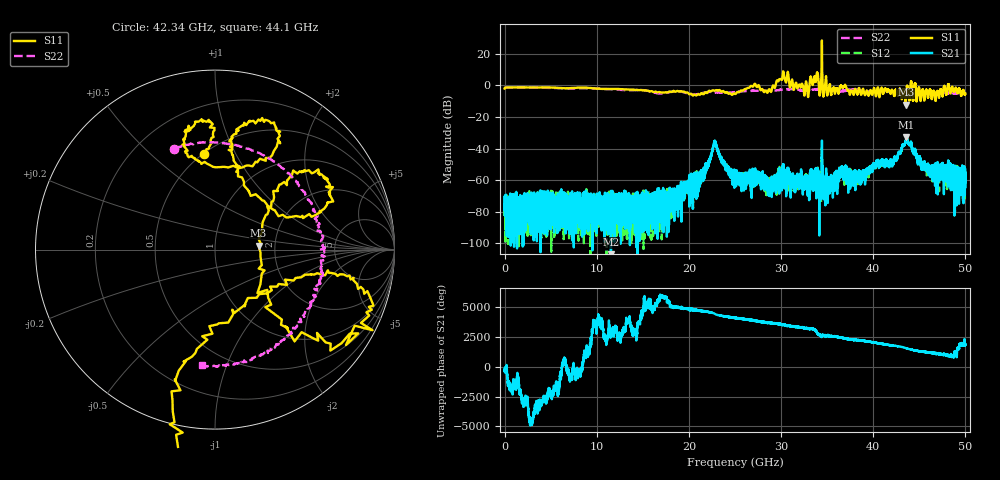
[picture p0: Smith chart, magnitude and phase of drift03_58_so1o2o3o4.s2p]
!Created with skrf (http://scikit-rf.org).
# Hz S RI R 50.0
!freq ReS11 ImS11 ReS21 ImS21 ReS12 ImS12 ReS22 ImS22
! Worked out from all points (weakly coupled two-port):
!   10000 points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, 5.3 MHz to 50 GHz, reference 50 ohm
!   highest |S21| = -32.94 dB at 43.61 GHz (marker M1); lowest = -114.7 dB at 11.55 GHz (marker M2)
!   lowest |S11| = -12.3 dB at 43.52 GHz (marker M3), VSWR 1.64, Z = 81.9 + j3.97 ohm
!   |S11| at or under -10 dB: 43.4838 GHz to 43.55462 GHz (70.82 MHz wide, 0.163 % of centre); 44.70389 GHz to 44.70709 GHz (3.199 MHz wide, 0.00716 % of centre)
!   |S22| runs from -5.9 to -1.3 dB; largest |S21 - S12| = 0.015
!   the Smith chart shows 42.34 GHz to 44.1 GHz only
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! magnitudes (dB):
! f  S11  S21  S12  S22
! 5.3 MHz  -2.1  -78.4  -82.6  -2.1
! 8.34 GHz  -1.5  -85.8  -81.3  -1.9
! 11.55 GHz  -2.3  -114.7  -80.5  -2.5
! 16.67 GHz  -4.4  -76.0  -70.1  -5.2
! 21.2 GHz  -6.0  -56.3  -59.1  -5.3
! 22.81 GHz  -3.5  -35.5  -35.3  -4.4
! 23.82 GHz  -4.2  -48.1  -48.6  -4.9
! 25.01 GHz  -5.5  -59.4  -59.7  -4.2
! 27.02 GHz  -0.3  -61.9  -57.4  -3.5
! 28.78 GHz  -2.8  -64.3  -63.8  -3.5
! 30.14 GHz  4.4  -59.7  -57.7  -2.7
! 32.74 GHz  2.0  -61.9  -58.5  -3.3
! 33.34 GHz  2.6  -57.2  -57.2  -2.9
! 33.82 GHz  4.0  -59.7  -60.0  -2.6
! 34.9 GHz  4.6  -58.7  -59.6  -2.4
! 36.5 GHz  -0.4  -52.5  -55.2  -3.8
! 38.52 GHz  -2.5  -54.3  -57.2  -3.1
! 41.67 GHz  -2.9  -49.8  -49.9  -3.7
! 43.52 GHz  -12.3  -35.6  -35.5  -4.2
! 43.61 GHz  -3.4  -32.9  -33.7  -4.2
! 46.29 GHz  -6.0  -57.9  -56.8  -5.5
! 50 GHz  -5.2  -59.0  -56.7  -5.0
